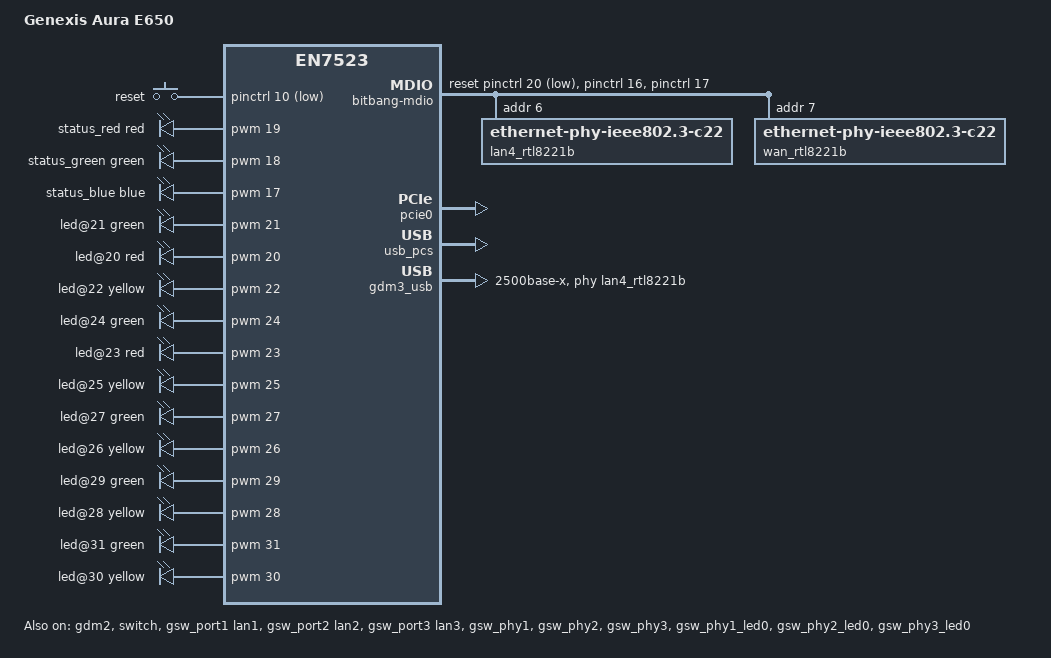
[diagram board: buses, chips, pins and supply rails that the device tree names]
/* SPDX-License-Identifier: GPL-2.0-or-later OR MIT */
/dts-v1/;

#include "en7523-genexis.dtsi"

/ {
	model = "Genexis Aura E650";
	compatible = "genexis,e650", "airoha,en7523";

	aliases {
		led-boot = &status_red;
		led-failsafe = &status_red;
		led-upgrade = &status_blue;
		led-running = &status_green;
	};

	keys {
		compatible = "gpio-keys-polled";
		poll-interval = <100>;

		reset {
			label = "reset";
			linux,code = <KEY_RESTART>;
			gpios = <&pinctrl 10 GPIO_ACTIVE_LOW>;
			debounce-interval = <60>;
		};
	};

	leds {
		compatible = "pwm-leds";

		status_red: led@19 {
			pwms = <&pwm 19 4000000 0>;
			max-brightness = <255>;
			color = <LED_COLOR_ID_RED>;
			function = LED_FUNCTION_STATUS;
			function-enumerator = <19>;
		};

		status_green: led@18 {
			pwms = <&pwm 18 4000000 0>;
			max-brightness = <255>;
			color = <LED_COLOR_ID_GREEN>;
			function = LED_FUNCTION_STATUS;
			function-enumerator = <18>;
		};

		status_blue: led@17 {
			pwms = <&pwm 17 4000000 0>;
			max-brightness = <255>;
			color = <LED_COLOR_ID_BLUE>;
			function = LED_FUNCTION_STATUS;
			function-enumerator = <17>;
		};

		led@21 {
			pwms = <&pwm 21 4000000 0>;
			max-brightness = <255>;
			color = <LED_COLOR_ID_GREEN>;
			function = LED_FUNCTION_LAN;
			function-enumerator = <4>;
		};

		led@20 {
			pwms = <&pwm 20 4000000 0>;
			max-brightness = <255>;
			color = <LED_COLOR_ID_RED>;
			function = LED_FUNCTION_LAN;
			function-enumerator = <4>;
		};

		led@22 {
			pwms = <&pwm 22 4000000 0>;
			max-brightness = <255>;
			color = <LED_COLOR_ID_YELLOW>;
			function = LED_FUNCTION_LAN;
			function-enumerator = <4>;
		};

		led@24 {
			pwms = <&pwm 24 4000000 0>;
			max-brightness = <255>;
			color = <LED_COLOR_ID_GREEN>;
			function = LED_FUNCTION_WAN;
		};

		led@23 {
			pwms = <&pwm 23 4000000 0>;
			max-brightness = <255>;
			color = <LED_COLOR_ID_RED>;
			function = LED_FUNCTION_WAN;
		};

		led@25 {
			pwms = <&pwm 25 4000000 0>;
			max-brightness = <255>;
			color = <LED_COLOR_ID_YELLOW>;
			function = LED_FUNCTION_WAN;
		};

		led@27 {
			pwms = <&pwm 27 4000000 0>;
			max-brightness = <255>;
			color = <LED_COLOR_ID_GREEN>;
			function = LED_FUNCTION_LAN;
			function-enumerator = <3>;
		};

		led@26 {
			pwms = <&pwm 26 4000000 0>;
			max-brightness = <255>;
			color = <LED_COLOR_ID_YELLOW>;
			function = LED_FUNCTION_LAN;
			function-enumerator = <3>;
		};

		led@29 {
			pwms = <&pwm 29 4000000 0>;
			max-brightness = <255>;
			color = <LED_COLOR_ID_GREEN>;
			function = LED_FUNCTION_LAN;
			function-enumerator = <2>;
		};

		led@28 {
			pwms = <&pwm 28 4000000 0>;
			max-brightness = <255>;
			color = <LED_COLOR_ID_YELLOW>;
			function = LED_FUNCTION_LAN;
			function-enumerator = <2>;
		};

		led@31 {
			pwms = <&pwm 31 4000000 0>;
			max-brightness = <255>;
			color = <LED_COLOR_ID_GREEN>;
			function = LED_FUNCTION_LAN;
			function-enumerator = <1>;
		};

		led@30 {
			pwms = <&pwm 30 4000000 0>;
			max-brightness = <255>;
			color = <LED_COLOR_ID_YELLOW>;
			function = LED_FUNCTION_LAN;
			function-enumerator = <1>;
		};
	};

	bitbang-mdio {
		compatible = "virtual,mdio-gpio";
		pinctrl-names = "default";
		gpios = <&pinctrl 16 GPIO_ACTIVE_HIGH>,
		        <&pinctrl 17 GPIO_ACTIVE_HIGH>;
		#address-cells = <1>;
		#size-cells = <0>;

		reset-gpios = <&pinctrl 20 GPIO_ACTIVE_LOW>;
		reset-delay-us = <12000>;
		reset-post-delay-us = <70000>;

		lan4_rtl8221b: ethernet-phy@6 {
			compatible = "ethernet-phy-ieee802.3-c22";
			reg = <6>;
			phy-mode = "2500base-x";
			pause;
		};

		wan_rtl8221b: ethernet-phy@7 {
			compatible = "ethernet-phy-ieee802.3-c22";
			reg = <7>;
			phy-mode = "2500base-x";
			pause;
		};
	};
};

&pcie0 {
	status = "okay";

	pcie@0,0 {
		reg = <0x00000000 0 0 0 0>;
		#address-cells = <3>;
		#size-cells = <2>;

		mt7915@0,0 {
			reg = <0x0000 0 0 0 0>;
			#address-cells = <1>;
			#size-cells = <0>;
			mediatek,eeprom-name = "mediatek/mt7915_eeprom_2g.bin";
			airoha,eth = <&eth>;

			band@0 {
				reg = <0>;
				nvmem-cells = <&ubootenv_ethaddr 2>;
				nvmem-cell-names = "mac-address";
			};
		};
	};
};

&pcie1 {
	pcie@1,0 {
		mt7916@0,0 {
			mediatek,eeprom-name = "mediatek/mt7915_eeprom_5g.bin";

			band@0 {
				nvmem-cells = <&ubootenv_ethaddr 3>;
				nvmem-cell-names = "mac-address";
			};
		};
	};
};

/* LAN4: second Realtek RTL8221B-VB-CG 2.5G PHY (MDIO addr 6) on the USB serdes
 * (GDM3 USB port). */
&usb_pcs {
	status = "okay";
};

/* WAN: Realtek RTL8221B-VB-CG 2.5G PHY (MDIO addr 7 on the bitbang bus),
 * attached to GDM2. */
&gdm2 {
	status = "okay";

	phy-mode = "2500base-x";
	phy-handle = <&wan_rtl8221b>;

	nvmem-cells = <&ubootenv_ethaddr 1>;
	nvmem-cell-names = "mac-address";

	openwrt,netdev-name = "wan";
};

&gdm3_usb {
	status = "okay";

	phy-mode = "2500base-x";
	phy-handle = <&lan4_rtl8221b>;

	openwrt,netdev-name = "lan4";
};

&switch {
	status = "okay";
};

&gsw_port1 {
	label = "lan1";
	status = "okay";
};

&gsw_port2 {
	label = "lan2";
	status = "okay";
};

&gsw_port3 {
	label = "lan3";
	status = "okay";
};

&gsw_phy1 {
	status = "okay";
};

&gsw_phy2 {
	status = "okay";
};

&gsw_phy3 {
	status = "okay";
};

&gsw_phy1_led0 {
	status = "okay";
};

&gsw_phy2_led0 {
	status = "okay";
};

&gsw_phy3_led0 {
	status = "okay";
};
